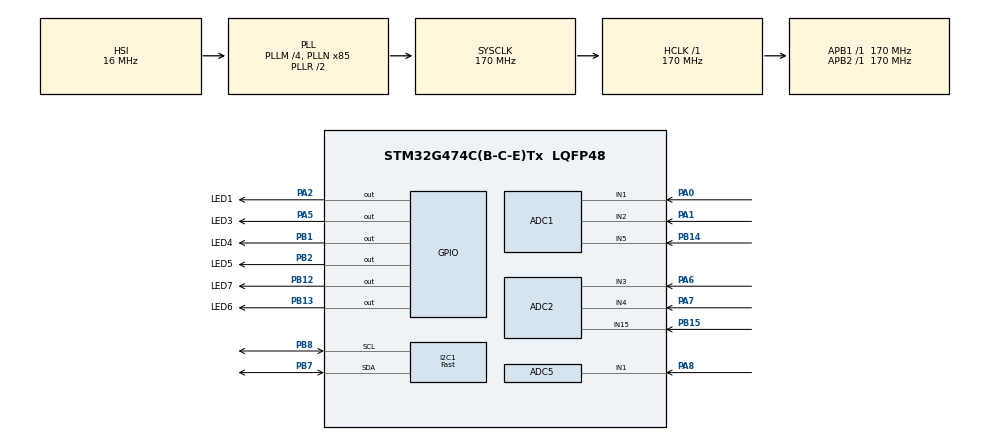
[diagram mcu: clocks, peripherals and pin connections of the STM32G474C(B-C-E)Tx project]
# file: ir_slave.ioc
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ADC1.Channel-0\#ChannelRegularConversion=ADC_CHANNEL_VREFINT
ADC1.Channel-1\#ChannelRegularConversion=ADC_CHANNEL_1
ADC1.Channel-2\#ChannelRegularConversion=ADC_CHANNEL_2
ADC1.Channel-3\#ChannelRegularConversion=ADC_CHANNEL_5
ADC1.ContinuousConvMode=ENABLE
ADC1.DMAContinuousRequests=ENABLE
ADC1.NbrOfConversion=4
ADC1.NbrOfConversionFlag=1
ADC1.OffsetNumber-0\#ChannelRegularConversion=ADC_OFFSET_NONE
ADC1.OffsetNumber-1\#ChannelRegularConversion=ADC_OFFSET_NONE
ADC1.OffsetNumber-2\#ChannelRegularConversion=ADC_OFFSET_NONE
ADC1.OffsetNumber-3\#ChannelRegularConversion=ADC_OFFSET_NONE
ADC1.Rank-0\#ChannelRegularConversion=1
ADC1.Rank-1\#ChannelRegularConversion=2
ADC1.Rank-2\#ChannelRegularConversion=3
ADC1.Rank-3\#ChannelRegularConversion=4
ADC1.SamplingTime-0\#ChannelRegularConversion=ADC_SAMPLETIME_247CYCLES_5
ADC1.SamplingTime-1\#ChannelRegularConversion=ADC_SAMPLETIME_6CYCLES_5
ADC1.SamplingTime-2\#ChannelRegularConversion=ADC_SAMPLETIME_6CYCLES_5
ADC1.SamplingTime-3\#ChannelRegularConversion=ADC_SAMPLETIME_6CYCLES_5
ADC1.master=1
ADC2.Channel-3\#ChannelRegularConversion=ADC_CHANNEL_3
ADC2.Channel-4\#ChannelRegularConversion=ADC_CHANNEL_4
ADC2.Channel-5\#ChannelRegularConversion=ADC_CHANNEL_15
ADC2.ContinuousConvMode=ENABLE
ADC2.DMAContinuousRequests=ENABLE
ADC2.NbrOfConversion=3
ADC2.NbrOfConversionFlag=1
ADC2.OffsetNumber-3\#ChannelRegularConversion=ADC_OFFSET_NONE
ADC2.OffsetNumber-4\#ChannelRegularConversion=ADC_OFFSET_NONE
ADC2.OffsetNumber-5\#ChannelRegularConversion=ADC_OFFSET_NONE
ADC2.Rank-3\#ChannelRegularConversion=1
ADC2.Rank-4\#ChannelRegularConversion=2
ADC2.Rank-5\#ChannelRegularConversion=3
ADC2.SamplingTime-3\#ChannelRegularConversion=ADC_SAMPLETIME_6CYCLES_5
ADC2.SamplingTime-4\#ChannelRegularConversion=ADC_SAMPLETIME_6CYCLES_5
ADC2.SamplingTime-5\#ChannelRegularConversion=ADC_SAMPLETIME_6CYCLES_5
ADC5.Channel-1\#ChannelRegularConversion=ADC_CHANNEL_1
ADC5.ContinuousConvMode=ENABLE
ADC5.DMAContinuousRequests=ENABLE
ADC5.NbrOfConversionFlag=1
ADC5.OffsetNumber-1\#ChannelRegularConversion=ADC_OFFSET_NONE
ADC5.Rank-1\#ChannelRegularConversion=1
ADC5.SamplingTime-1\#ChannelRegularConversion=ADC_SAMPLETIME_6CYCLES_5
Dma.ADC1.0.Direction=DMA_PERIPH_TO_MEMORY
Dma.ADC1.0.EventEnable=DISABLE
Dma.ADC1.0.Instance=DMA1_Channel1
Dma.ADC1.0.MemDataAlignment=DMA_MDATAALIGN_HALFWORD
Dma.ADC1.0.MemInc=DMA_MINC_ENABLE
Dma.ADC1.0.Mode=DMA_CIRCULAR
Dma.ADC1.0.PeriphDataAlignment=DMA_PDATAALIGN_HALFWORD
Dma.ADC1.0.PeriphInc=DMA_PINC_DISABLE
Dma.ADC1.0.Polarity=HAL_DMAMUX_REQ_GEN_RISING
Dma.ADC1.0.Priority=DMA_PRIORITY_LOW
Dma.ADC1.0.RequestNumber=1
Dma.ADC1.0.SignalID=NONE
Dma.ADC1.0.SyncEnable=DISABLE
Dma.ADC1.0.SyncPolarity=HAL_DMAMUX_SYNC_NO_EVENT
Dma.ADC1.0.SyncRequestNumber=1
Dma.ADC1.0.SyncSignalID=NONE
Dma.ADC2.1.Direction=DMA_PERIPH_TO_MEMORY
Dma.ADC2.1.EventEnable=DISABLE
Dma.ADC2.1.Instance=DMA1_Channel2
Dma.ADC2.1.MemDataAlignment=DMA_MDATAALIGN_HALFWORD
Dma.ADC2.1.MemInc=DMA_MINC_ENABLE
Dma.ADC2.1.Mode=DMA_CIRCULAR
Dma.ADC2.1.PeriphDataAlignment=DMA_PDATAALIGN_HALFWORD
Dma.ADC2.1.PeriphInc=DMA_PINC_DISABLE
Dma.ADC2.1.Polarity=HAL_DMAMUX_REQ_GEN_RISING
Dma.ADC2.1.Priority=DMA_PRIORITY_LOW
Dma.ADC2.1.RequestNumber=1
Dma.ADC2.1.SignalID=NONE
Dma.ADC2.1.SyncEnable=DISABLE
Dma.ADC2.1.SyncPolarity=HAL_DMAMUX_SYNC_NO_EVENT
Dma.ADC2.1.SyncRequestNumber=1
Dma.ADC2.1.SyncSignalID=NONE
Dma.ADC5.2.Direction=DMA_PERIPH_TO_MEMORY
Dma.ADC5.2.EventEnable=DISABLE
Dma.ADC5.2.Instance=DMA1_Channel3
Dma.ADC5.2.MemDataAlignment=DMA_MDATAALIGN_HALFWORD
Dma.ADC5.2.MemInc=DMA_MINC_ENABLE
Dma.ADC5.2.Mode=DMA_CIRCULAR
Dma.ADC5.2.PeriphDataAlignment=DMA_PDATAALIGN_HALFWORD
Dma.ADC5.2.PeriphInc=DMA_PINC_DISABLE
Dma.ADC5.2.Polarity=HAL_DMAMUX_REQ_GEN_RISING
Dma.ADC5.2.Priority=DMA_PRIORITY_LOW
Dma.ADC5.2.RequestNumber=1
Dma.ADC5.2.SignalID=NONE
Dma.ADC5.2.SyncEnable=DISABLE
Dma.ADC5.2.SyncPolarity=HAL_DMAMUX_SYNC_NO_EVENT
Dma.ADC5.2.SyncRequestNumber=1
Dma.ADC5.2.SyncSignalID=NONE
Dma.Request0=ADC1
Dma.Request1=ADC2
Dma.Request2=ADC5
I2C1.I2C_Speed_Mode=I2C_Fast
I2C1.OwnAddress=0x30
I2C1.Timing=0x40621236
Mcu.Family=STM32G4
Mcu.Name=STM32G474C(B-C-E)Tx
Mcu.Package=LQFP48
NVIC.DMA1_Channel1_IRQn=true\:0\:0\:true\:false\:true\:false\:true\:true
NVIC.DMA1_Channel2_IRQn=true\:1\:0\:true\:false\:true\:false\:true\:true
NVIC.DMA1_Channel3_IRQn=true\:2\:0\:true\:false\:true\:false\:true\:true
NVIC.I2C1_ER_IRQn=true\:0\:1\:false\:false\:true\:true\:true\:true
NVIC.I2C1_EV_IRQn=true\:0\:0\:false\:false\:true\:true\:true\:true
NVIC.PriorityGroup=NVIC_PRIORITYGROUP_2
NVIC.TIM6_DAC_IRQn=true\:0\:0\:false\:false\:true\:true\:true\:true
PA0.Mode=IN1-Single-Ended
PA0.Signal=ADC1_IN1
PA1.Mode=IN2-Single-Ended
PA1.Signal=ADC1_IN2
PA13.Mode=Serial_Wire
PA13.Signal=SYS_JTMS-SWDIO
PA14.Mode=Serial_Wire
PA14.Signal=SYS_JTCK-SWCLK
PA2.GPIO_Label=LED1
PA2.Signal=GPIO_Output
PA5.GPIO_Label=LED3
PA5.Signal=GPIO_Output
PA6.Mode=IN3-Single-Ended
PA6.Signal=ADC2_IN3
PA7.Mode=IN4-Single-Ended
PA7.Signal=ADC2_IN4
PA8.Mode=IN1-Single-Ended
PA8.Signal=ADC5_IN1
PB1.GPIO_Label=LED4
PB1.Signal=GPIO_Output
PB12.GPIO_Label=LED7
PB12.Signal=GPIO_Output
PB13.GPIO_Label=LED6
PB13.Signal=GPIO_Output
PB14.Mode=IN5-Single-Ended
PB14.Signal=ADC1_IN5
PB15.Mode=IN15-Single-Ended
PB15.Signal=ADC2_IN15
PB2.GPIO_Label=LED5
PB2.Signal=GPIO_Output
PB7.GPIO_Pu=GPIO_NOPULL
PB7.Mode=I2C
PB7.Signal=I2C1_SDA
PB8-BOOT0.GPIO_Pu=GPIO_NOPULL
PB8-BOOT0.Mode=I2C
PB8-BOOT0.Signal=I2C1_SCL
PF0-OSC_IN.Mode=HSE-External-Oscillator
PF0-OSC_IN.Signal=RCC_OSC_IN
PF1-OSC_OUT.Mode=HSE-External-Oscillator
PF1-OSC_OUT.Signal=RCC_OSC_OUT
ProjectManager.HeapSize=0x200
ProjectManager.StackSize=0x400
ProjectManager.TargetToolchain=CMake
RCC.ADC12Freq_Value=170000000
RCC.ADC345Freq_Value=170000000
RCC.AHBFreq_Value=170000000
RCC.APB1Freq_Value=170000000
RCC.APB1TimFreq_Value=170000000
RCC.APB2Freq_Value=170000000
RCC.APB2TimFreq_Value=170000000
RCC.CortexFreq_Value=170000000
RCC.EXTERNAL_CLOCK_VALUE=12288000
RCC.HCLKFreq_Value=170000000
RCC.HSE_VALUE=8000000
RCC.HSI48_VALUE=48000000
RCC.HSI_VALUE=16000000
RCC.LSE_VALUE=32768
RCC.PLLM=RCC_PLLM_DIV4
RCC.PLLN=85
RCC.SYSCLKFreq_VALUE=170000000
RCC.SYSCLKSource=RCC_SYSCLKSOURCE_PLLCLK
RCC.USBFreq_Value=170000000
RCC.VCOOutputFreq_Value=340000000
TIM6.AutoReloadPreload=TIM_AUTORELOAD_PRELOAD_ENABLE
TIM6.PeriodNoDither=0xffff
TIM6.Prescaler=169
VP_ADC1_Vref_Input.Mode=IN-Vrefint
VP_SYS_VS_DBSignals.Mode=DisableDeadBatterySignals
VP_TIM6_VS_ClockSourceINT.Mode=Enable_Timer
board=custom

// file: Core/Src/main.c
/* USER CODE BEGIN Header */
/**
  ******************************************************************************
  * @file           : main.c
  * @brief          : Main program body
  ******************************************************************************
  * @attention
  *
  * Copyright (c) 2025 STMicroelectronics.
  * All rights reserved.
  *
  * This software is licensed under terms that can be found in the LICENSE file
  * in the root directory of this software component.
  * If no LICENSE file comes with this software, it is provided AS-IS.
  *
  ******************************************************************************
  */
/* USER CODE END Header */
#include "main.h"
#include "adc.h"
#include "dma.h"
#include "i2c.h"
#include "tim.h"
#include "gpio.h"

/* USER CODE BEGIN Includes */
#include "i2c_slave.h"
#include "data.h"
/* USER CODE END Includes */

void SystemClock_Config(void);

/* USER CODE BEGIN 0 */
void setBoot0(void) {
  // 檢查並設定 BOOT0 選項位元組
  FLASH_OBProgramInitTypeDef OBInit;

  // 讀取當前選項位元組
  HAL_FLASHEx_OBGetConfig(&OBInit);

  // 檢查是否需要修改 BOOT0 設定
  uint32_t currentUserConfig = OBInit.USERConfig;

  // 檢查 nSWBOOT0 和 nBOOT0 位元
  if ((currentUserConfig & FLASH_OPTR_nSWBOOT0) || !(currentUserConfig & FLASH_OPTR_nBOOT0))
  {
    // 需要設定：nSWBOOT0=0 (軟體控制) 和 nBOOT0=1 (BOOT0=0，從主快閃記憶體啟動)

    HAL_FLASH_Unlock();
    HAL_FLASH_OB_Unlock();

    OBInit.OptionType = OPTIONBYTE_USER;
    OBInit.USERType = OB_USER_nSWBOOT0 | OB_USER_nBOOT0;

    // 清除 nSWBOOT0 (設為0) 並設定 nBOOT0 (設為1)
    OBInit.USERConfig = (currentUserConfig & ~FLASH_OPTR_nSWBOOT0) | FLASH_OPTR_nBOOT0;

    if (HAL_FLASHEx_OBProgram(&OBInit) == HAL_OK)
    {
      HAL_FLASH_OB_Lock();
      HAL_FLASH_Lock();

      // 重新啟動以應用新的選項位元組
      HAL_FLASH_OB_Launch();
    }
    else
    {
      HAL_FLASH_OB_Lock();
      HAL_FLASH_Lock();
      Error_Handler();
    }
  }
}
/* USER CODE END 0 */

int main(void)
{

  /* MCU Configuration--------------------------------------------------------*/

  /* Reset of all peripherals, Initializes the Flash interface and the Systick. */
  HAL_Init();

  /* USER CODE BEGIN Init */
  // setBoot0();  // 只在第一次燒錄時需要，之後可以註解掉
  /* USER CODE END Init */

  /* Configure the system clock */
  SystemClock_Config();

  /* Initialize all configured peripherals */
  MX_GPIO_Init();
  MX_DMA_Init();
  MX_I2C1_Init();
  MX_ADC1_Init();
  MX_TIM6_Init();
  MX_ADC2_Init();
  MX_ADC5_Init();
  /* USER CODE BEGIN 2 */

  // 初始化I2C（這個通常沒問題）
  I2C_Slave_Init(&hi2c1);

  // 簡化的ADC初始化
  HAL_GPIO_WritePin(GPIOA, LED1_Pin, GPIO_PIN_SET);  // 啟動指示

  // 暫時禁用DMA中斷進行測試
  HAL_NVIC_DisableIRQ(DMA1_Channel1_IRQn);
  HAL_NVIC_DisableIRQ(DMA1_Channel2_IRQn);
  HAL_NVIC_DisableIRQ(DMA1_Channel3_IRQn);
  // HAL_NVIC_DisableIRQ(ADC1_2_IRQn);
  // HAL_NVIC_DisableIRQ(ADC5_IRQn);

  // 初始化ADC
  adcInit();
  HAL_TIM_Base_Start(&htim6);  // 啟動定時器6

  // 系統就緒
  HAL_GPIO_WritePin(GPIOB, LED7_Pin, GPIO_PIN_SET);

  /* USER CODE END 2 */

  /* Infinite loop */
  /* USER CODE BEGIN WHILE */
  while (1) {
    // dataSave();
    // arrangeData();
    dataProcess();
    updateTxBuffer(voltBuffer, VOLT_BUFFER_SIZE);

    // 運行指示
    HAL_GPIO_TogglePin(GPIOA, LED1_Pin);
    HAL_Delay(10);
    /* USER CODE END WHILE */

  }
}

void SystemClock_Config(void)
{
  RCC_OscInitTypeDef RCC_OscInitStruct = {0};
  RCC_ClkInitTypeDef RCC_ClkInitStruct = {0};

  /** Configure the main internal regulator output voltage
  */
  HAL_PWREx_ControlVoltageScaling(PWR_REGULATOR_VOLTAGE_SCALE1_BOOST);

  /** Initializes the RCC Oscillators according to the specified parameters
  * in the RCC_OscInitTypeDef structure.
  */
  RCC_OscInitStruct.OscillatorType = RCC_OSCILLATORTYPE_HSI;
  RCC_OscInitStruct.HSIState = RCC_HSI_ON;
  RCC_OscInitStruct.HSICalibrationValue = RCC_HSICALIBRATION_DEFAULT;
  RCC_OscInitStruct.PLL.PLLState = RCC_PLL_ON;
  RCC_OscInitStruct.PLL.PLLSource = RCC_PLLSOURCE_HSI;
  RCC_OscInitStruct.PLL.PLLM = RCC_PLLM_DIV4;
  RCC_OscInitStruct.PLL.PLLN = 85;
  RCC_OscInitStruct.PLL.PLLP = RCC_PLLP_DIV2;
  RCC_OscInitStruct.PLL.PLLQ = RCC_PLLQ_DIV2;
  RCC_OscInitStruct.PLL.PLLR = RCC_PLLR_DIV2;
  if (HAL_RCC_OscConfig(&RCC_OscInitStruct) != HAL_OK)
  {
    Error_Handler();
  }

  /** Initializes the CPU, AHB and APB buses clocks
  */
  RCC_ClkInitStruct.ClockType = RCC_CLOCKTYPE_HCLK|RCC_CLOCKTYPE_SYSCLK
                              |RCC_CLOCKTYPE_PCLK1|RCC_CLOCKTYPE_PCLK2;
  RCC_ClkInitStruct.SYSCLKSource = RCC_SYSCLKSOURCE_PLLCLK;
  RCC_ClkInitStruct.AHBCLKDivider = RCC_SYSCLK_DIV1;
  RCC_ClkInitStruct.APB1CLKDivider = RCC_HCLK_DIV1;
  RCC_ClkInitStruct.APB2CLKDivider = RCC_HCLK_DIV1;

  if (HAL_RCC_ClockConfig(&RCC_ClkInitStruct, FLASH_LATENCY_4) != HAL_OK)
  {
    Error_Handler();
  }
}

/* USER CODE BEGIN 4 */
// void HAL_ADC_ConvCpltCallback(ADC_HandleTypeDef* hadc) {
//   // 這個回調函數在ADC轉換完成時被呼叫
//   // 可以在這裡處理ADC數據或設定旗標
//   HAL_GPIO_WritePin(GPIOB, LED3_Pin, GPIO_PIN_SET);
// }
/* USER CODE END 4 */

void Error_Handler(void)
{
  /* USER CODE BEGIN Error_Handler_Debug */
  /* User can add his own implementation to report the HAL error return state */
  __disable_irq();
  while (1) {
    HAL_GPIO_WritePin(GPIOB, LED5_Pin, GPIO_PIN_SET);
    HAL_Delay(100);
    HAL_GPIO_WritePin(GPIOB, LED5_Pin, GPIO_PIN_RESET);
    HAL_Delay(100);
    HAL_GPIO_WritePin(GPIOB, LED5_Pin, GPIO_PIN_SET);
    HAL_Delay(100);
    HAL_GPIO_WritePin(GPIOB, LED5_Pin, GPIO_PIN_RESET);
    HAL_Delay(100);
  }
  /* USER CODE END Error_Handler_Debug */
}
